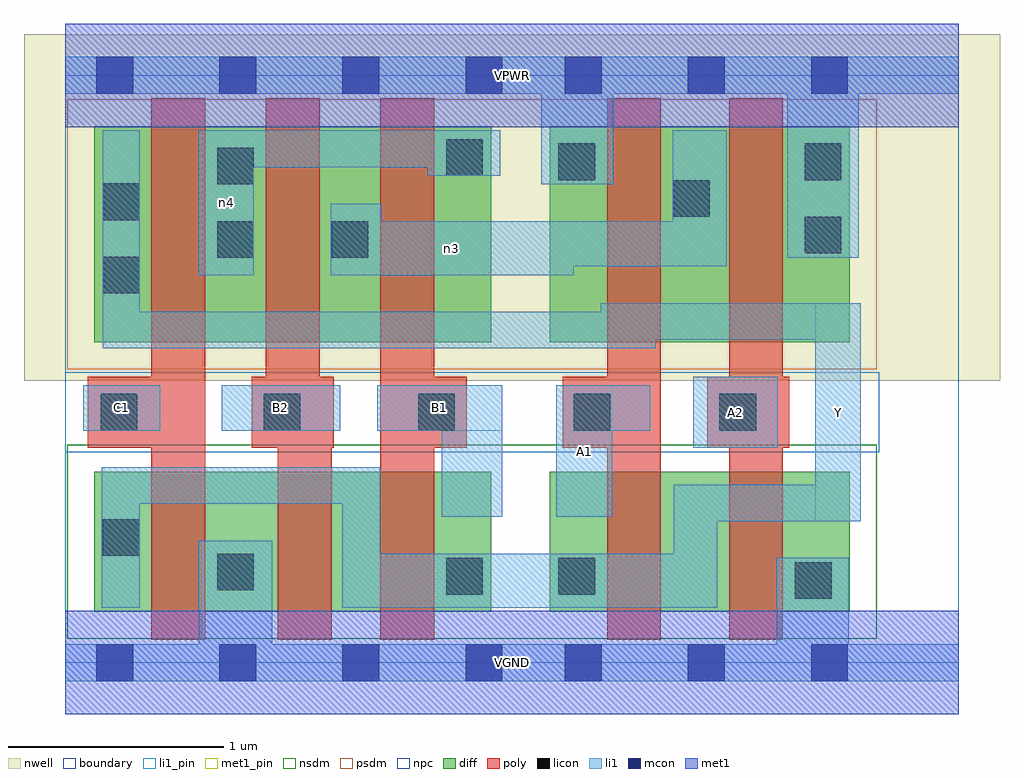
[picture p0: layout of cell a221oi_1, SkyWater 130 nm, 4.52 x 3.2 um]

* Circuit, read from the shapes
.subckt a221oi_1 A1 A2 B1 B2 C1 VGND VPWR Y n3 n4
XM1 VGND C1 Y VSUBS sky130_fd_pr__nfet_01v8 w=0.65 l=0.25
XM2 n1 B2 VGND VSUBS sky130_fd_pr__nfet_01v8 w=0.65 l=0.25
XM3 Y B1 n1 VSUBS sky130_fd_pr__nfet_01v8 w=0.65 l=0.25
XM4 n2 A1 Y VSUBS sky130_fd_pr__nfet_01v8 w=0.65 l=0.25
XM5 VGND A2 n2 VSUBS sky130_fd_pr__nfet_01v8 w=0.65 l=0.25
XM6 n4 C1 Y n5 sky130_fd_pr__pfet_01v8 w=1 l=0.25
XM7 n3 B2 n4 n5 sky130_fd_pr__pfet_01v8 w=1 l=0.25
XM8 n4 B1 n3 n5 sky130_fd_pr__pfet_01v8 w=1 l=0.25
XM9 n3 A1 VPWR n5 sky130_fd_pr__pfet_01v8 w=1 l=0.25
XM10 VPWR A2 n3 n5 sky130_fd_pr__pfet_01v8 w=1 l=0.25
.ends

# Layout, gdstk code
import gdstk
lib = gdstk.Library(unit=1e-6, precision=1e-09)
def R(c, l, rs):  # rectangles x0, y0, x1, y1
    for r in rs: c.add(gdstk.rectangle(r[:2], r[2:], *l))
def A(c, l, x, y, w, h, nx, ny, dx, dy):  # array of equal rectangles
    R(c, l, [(x+i*dx, y+j*dy, x+i*dx+w, y+j*dy+h) for i in range(nx) for j in range(ny)])
nwell = (64, 20)
diff = (65, 20)
poly = (66, 20)
licon = (66, 44)
li1_pin = (67, 16)
li1 = (67, 20)
mcon = (67, 44)
met1_pin = (68, 16)
met1 = (68, 20)
nsdm = (93, 44)
psdm = (94, 20)
npc = (95, 20)
boundary = (235, 4)

a221oi_1 = lib.new_cell('a221oi_1')
R(a221oi_1, nwell, [(-0.19,1.305,4.33,2.91), (0,1.305,4.14,2.91)])
R(a221oi_1, diff, [(0.135,0.235,1.975,0.885), (2.245,0.235,3.635,0.885), (0.135,1.485,1.975,2.485), (2.245,1.485,3.635,2.485)])
R(a221oi_1, poly, [(0.4,0.105,0.65,2.615), (0.985,0.105,1.235,1.325), (1.46,0.105,1.71,2.615), (2.51,0.105,2.76,2.615), (3.075,0.105,3.325,2.615), (0.105,0.995,0.65,1.325), (0.865,0.995,1.245,1.325), (0.93,0.995,1.18,2.615), (1.46,0.995,1.86,1.325), (2.305,0.995,2.76,1.325), (2.975,0.995,3.355,1.325)])
R(a221oi_1, licon, [(3.38,0.295,3.55,0.465), (1.765,0.315,1.935,0.485), (2.285,0.315,2.455,0.485), (0.705,0.335,0.875,0.505), (0.175,0.495,0.345,0.665), (0.165,1.075,0.335,1.245), (0.92,1.075,1.09,1.245), (1.635,1.075,1.805,1.245), (2.355,1.075,2.525,1.245), (3.03,1.075,3.2,1.245), (0.175,1.71,0.345,1.88), (0.705,1.875,0.875,2.045), (1.235,1.875,1.405,2.045), (3.425,1.895,3.595,2.065), (0.175,2.05,0.345,2.22), (2.815,2.065,2.985,2.235), (0.705,2.215,0.875,2.385), (2.285,2.235,2.455,2.405), (3.425,2.235,3.595,2.405), (1.765,2.255,1.935,2.425)])
R(a221oi_1, li1_pin, [(3.475,0.655,3.685,1.665), (2.275,0.675,2.535,1.285), (2.91,0.995,3.3,1.325), (0.085,1.075,0.44,1.285), (0.725,1.075,1.275,1.285), (1.445,1.075,2.025,1.285)])
R(a221oi_1, li1, [(0,-0.085,4.14,0.085), (0.62,-0.085,0.96,0.565), (3.295,-0.085,3.63,0.485), (0.17,0.255,0.345,0.905), (1.285,0.255,1.46,0.905), (1.285,0.255,3.02,0.505), (2.82,0.255,3.02,0.825), (2.82,0.655,3.685,0.825), (3.475,0.655,3.685,1.665), (1.745,0.675,2.025,1.285), (2.275,0.675,2.535,1.285), (0.17,0.735,1.46,0.905), (2.91,0.995,3.3,1.325), (0.085,1.075,0.44,1.285), (0.725,1.075,1.275,1.285), (1.445,1.075,2.025,1.285), (2.275,1.075,2.71,1.285), (0.175,1.455,2.735,1.625), (0.175,1.455,0.345,2.465), (2.48,1.495,3.685,1.665), (0.62,1.795,0.875,2.465), (1.23,1.795,2.355,2.045), (1.23,1.795,1.465,2.125), (1.23,1.835,3.065,2.045), (2.815,1.835,3.065,2.465), (3.345,1.875,3.675,2.805), (2.205,2.215,2.54,2.805), (1.68,2.255,2.015,2.465), (0.62,2.295,2.015,2.465), (0,2.635,4.14,2.805)])
A(a221oi_1, mcon, 0.145, -0.085, 0.17, 0.17, 4, 2, 0.57, 2.72)
A(a221oi_1, mcon, 2.315, -0.085, 0.17, 0.17, 3, 2, 0.57, 2.72)
R(a221oi_1, met1_pin, [(0,-0.24,4.14,0.24), (0,2.48,4.14,2.96)])
R(a221oi_1, met1, [(0,-0.24,4.14,0.24), (0,2.48,4.14,2.96)])
R(a221oi_1, nsdm, [(0.01,0.11,3.76,1.01)])
R(a221oi_1, psdm, [(0.01,1.36,3.76,2.61)])
R(a221oi_1, npc, [(0,0.975,3.77,1.345)])
R(a221oi_1, boundary, [(0,0,4.14,2.72)])
a221oi_1.add(gdstk.Label('A1', (2.405,0.98), layer=67, texttype=5))
a221oi_1.add(gdstk.Label('A2', (3.105,1.16), layer=67, texttype=5))
a221oi_1.add(gdstk.Label('B1', (1.735,1.18), layer=67, texttype=5))
a221oi_1.add(gdstk.Label('B2', (1,1.18), layer=67, texttype=5))
a221oi_1.add(gdstk.Label('C1', (0.262,1.18), layer=67, texttype=5))
a221oi_1.add(gdstk.Label('Y', (3.58,1.16), layer=67, texttype=5))
a221oi_1.add(gdstk.Label('n4', (0.747,2.13), layer=67, texttype=5))
a221oi_1.add(gdstk.Label('n3', (1.792,1.92), layer=67, texttype=5))
a221oi_1.add(gdstk.Label('VPWR', (2.07,2.72), layer=68, texttype=5))
a221oi_1.add(gdstk.Label('VGND', (2.07,0), layer=68, texttype=5))
a221oi_1.add(gdstk.Label('A1', (2.405,0.98), layer=67, texttype=16))
a221oi_1.add(gdstk.Label('A2', (3.105,1.16), layer=67, texttype=16))
a221oi_1.add(gdstk.Label('B1', (1.735,1.18), layer=67, texttype=16))
a221oi_1.add(gdstk.Label('B2', (1,1.18), layer=67, texttype=16))
a221oi_1.add(gdstk.Label('C1', (0.262,1.18), layer=67, texttype=16))
a221oi_1.add(gdstk.Label('Y', (3.58,1.16), layer=67, texttype=16))
a221oi_1.add(gdstk.Label('VPWR', (2.07,2.72), layer=68, texttype=16))
a221oi_1.add(gdstk.Label('VGND', (2.07,0), layer=68, texttype=16))

lib.write_gds('a221oi_1.gds')
